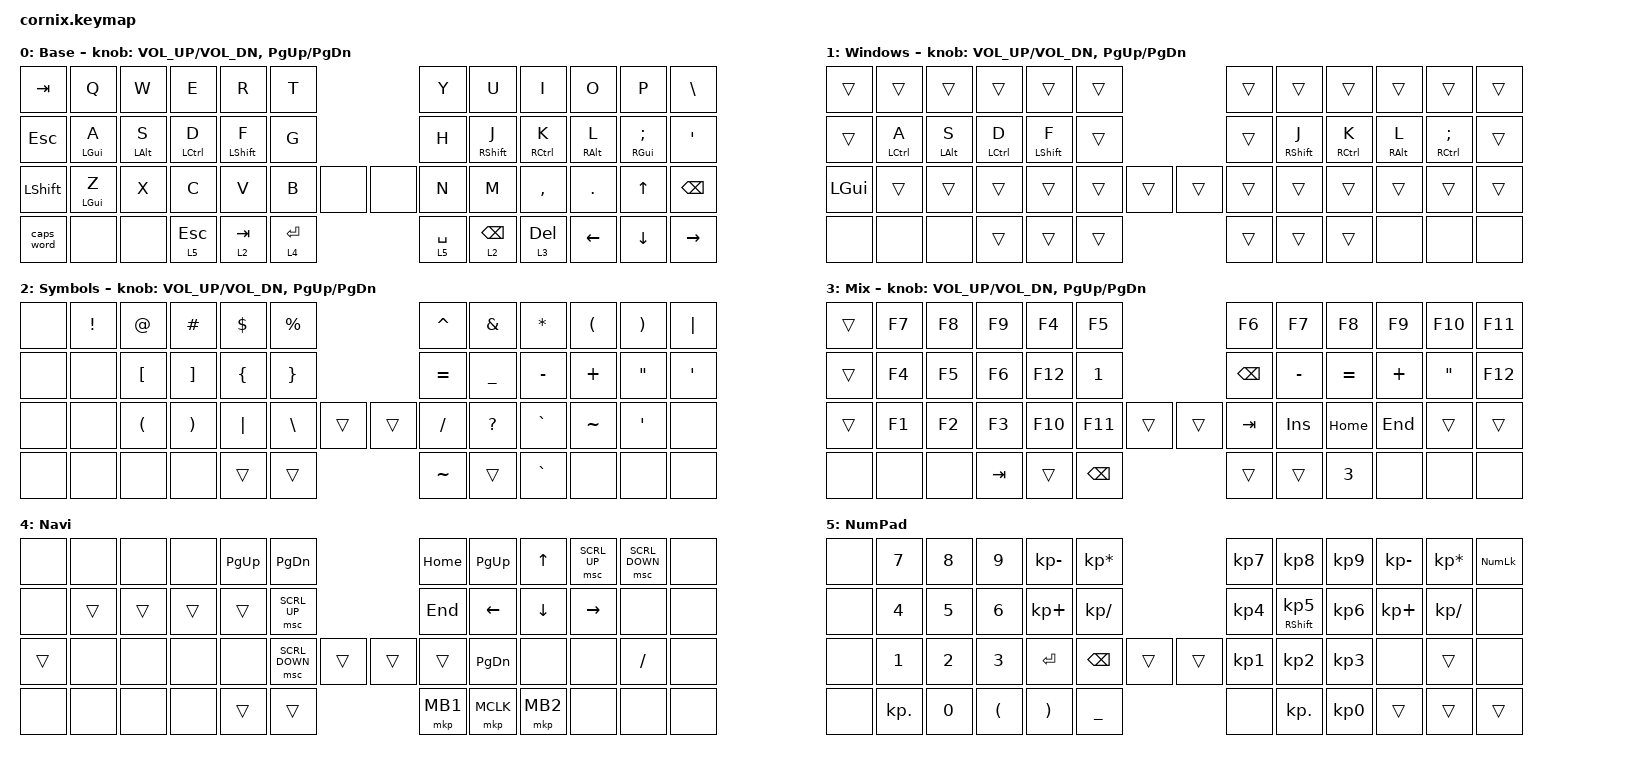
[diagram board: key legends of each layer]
/*
 * Copyright (c) 2020 The ZMK Contributors
 *
 * SPDX-License-Identifier: MIT
 */

#include "zmk-helpers/helper.h"
#include "includes/cornix54.h"

// tap windows for ctl alt and gui

#define HM_TAPPING_TERM 250
#define HM_TAPPING_REPEAT 210

// quick tapping for shift

#define HM_TAPPING_TERM_FAST 200
#define HM_PRIOR_IDLE 70
#define BASE 0
#define WIN 1
#define LOWER 2
#define RAISE 3
#define NAVI   4
#define NUM    5

// https://github.com/urob/zmk-config/tree/main#timeless-homerow-mods

#define KEYS_L LT0 LT1 LT2 LT3 LT4 LT5 LM0 LM1 LM2 LM3 LM4 LM5 LB0 LB1 LB2 LB3 LB4 LB5  // left hand
#define KEYS_R RT0 RT1 RT2 RT3 RT4 RT5 RM0 RM1 RM2 RM3 RM4 RM5 RB0 RB1 RB2 RB3 RB4 RB5  // right hand
#define THUMBS LH1 LH0 RH0 RH1
#define KEYS_T LH1 LH0 RH0 RH1
#define ZMK_POINTING_DEFAULT_SCRL_VAL 15

#include <behaviors.dtsi>
#include <dt-bindings/zmk/keys.h>
#include <dt-bindings/zmk/pointing.h>

/ {
    // Activate ADJUST layer by pressing raise and lower

    behaviors {
        hm_l: homerow_mods_left {
            compatible = "zmk,behavior-hold-tap";
            #binding-cells = <2>;
            bindings = <&kp>, <&kp>;

            flavor = "balanced";
            tapping-term-ms = <HM_TAPPING_TERM>;
            quick-tap-ms = <200>;                // repeat on tap-into-hold
            require-prior-idle-ms = <HM_PRIOR_IDLE>;
            hold-trigger-key-positions = <KEYS_R KEYS_T>;
            hold-trigger-on-release;
        };

        hm_r: homerow_mods_right {
            compatible = "zmk,behavior-hold-tap";
            #binding-cells = <2>;
            bindings = <&kp>, <&kp>;

            flavor = "balanced";
            tapping-term-ms = <HM_TAPPING_TERM>;
            quick-tap-ms = <200>;
            require-prior-idle-ms = <HM_PRIOR_IDLE>;
            hold-trigger-key-positions = <KEYS_L KEYS_T>;
            hold-trigger-on-release;
        };

        // Positional Homerow mods for shift
        // Use faster tapping term and disable some features that may
        // cause false negatives.

        hm_shift_l: hm_shift_l {
            compatible = "zmk,behavior-hold-tap";
            #binding-cells = <2>;
            bindings = <&kp>, <&kp>;

            //flavor = "balanced";

            flavor = "balanced";
            tapping-term-ms = <HM_TAPPING_TERM_FAST>;
            quick-tap-ms = <200>;
            require-prior-idle-ms = <HM_PRIOR_IDLE>;
            hold-trigger-key-positions = <KEYS_R KEYS_T>;
            hold-trigger-on-release;
        };

        hm_shift_r: hm_shift_r {
            compatible = "zmk,behavior-hold-tap";
            #binding-cells = <2>;
            bindings = <&kp>, <&kp>;

            flavor = "balanced";
            tapping-term-ms = <HM_TAPPING_TERM_FAST>;
            quick-tap-ms = <200>;
            require-prior-idle-ms = <HM_PRIOR_IDLE>;
            hold-trigger-key-positions = <KEYS_L KEYS_T>;

            // for quick tapping; shift+~

            hold-trigger-on-release;
        };

        /*
         * Non-Positional Homerow Mods
         * Used for &mm_grescm_gui behavior on left hand.
         *
         * Usage: &hm LSHFT T
         * Tap: T
         * Tap-Tap-Hold: Repeat T
         * Hold: LSHIFT
         */

        hm: homerow_mods {
            compatible = "zmk,behavior-hold-tap";
            #binding-cells = <2>;
            bindings = <&kp>, <&kp>;

            flavor = "balanced";
            tapping-term-ms = <HM_TAPPING_TERM>;
            quick-tap-ms = <200>;
        };

        lt: layer_tap {
            compatible = "zmk,behavior-hold-tap";
            #binding-cells = <2>;
            bindings = <&mo>, <&kp>;

            flavor = "hold-preferred";
            tapping-term-ms = <HM_TAPPING_TERM>;
            quick-tap-ms = <200>;
        };
    };

    conditional_layers { compatible = "zmk,conditional-layers"; };

    combos {
        compatible = "zmk,combos";

        cb_ltm {
            bindings = <&kp ESC>;
            key-positions = <2 4>;
            layers = <0 1>;
        };

        comfff {
            bindings = <&tog 5>;
            key-positions = <44 32>;
        };
    };

    keymap {
        compatible = "zmk,keymap";

        default_layer {
            display-name = "Base";

            // ------------------------------------------------------------------------------------------------------------
            // |   `   |  1  |  2  |  3   |  4   |  5   |                   |  6   |  7    |  8    |  9   |   0   |       |
            // |  ESC  |  Q  |  W  |  E   |  R   |  T   |                   |  Y   |  U    |  I    |  O   |   P   | BKSPC |
            // |  TAB  |  A  |  S  |  D   |  F   |  G   |                   |  H   |  J    |  K    |  L   |   ;   |   '   |
            // | SHIFT |  Z  |  X  |  C   |  V   |  B   |  MUTE  |  |       |  N   |  M    |  ,    |  .   |   /   | SHIFT |
            //               | GUI | ALT  | CTRL | LOWER|  ENTER |  | SPACE | RAISE| CTRL  | ALT   | GUI  |

            bindings = <
&kp TAB         &kp Q             &kp W             &kp E          &kp R                &kp T                      &kp Y        &kp U                &kp I          &kp O           &kp P                 &kp BSLH
&kp ESC         &hm_l LEFT_GUI A  &hm_l LEFT_ALT S  &hm_l LCTRL D  &hm_shift_l LSHFT F  &kp G                      &kp H        &hm_shift_r RSHFT J  &hm_r RCTRL K  &hm_r RALT L    &hm_r RIGHT_GUI SEMI  &kp SQT
&kp LEFT_SHIFT  &hm_l LGUI Z      &kp X             &kp C          &kp V                &kp B        &none  &none  &kp N        &kp M                &kp COMMA      &kp DOT         &kp UP_ARROW          &kp BACKSPACE
&caps_word      &none             &none             &lt 5 ESCAPE   &lt 2 TAB            &lt 4 ENTER                &lt 5 SPACE  &lt 2 BACKSPACE      &lt 3 DEL      &kp LEFT_ARROW  &kp DOWN              &kp RIGHT
            >;

            sensor-bindings = <&inc_dec_kp C_VOL_UP C_VOL_DN &inc_dec_kp PG_UP PG_DN>;
        };

        win_layer {
            display-name = "Windows";

            // ------------------------------------------------------------------------------------------------------------
            // |   `   |  1  |  2  |  3   |  4   |  5   |                   |  6   |  7    |  8    |  9   |   0   |       |
            // |  ESC  |  Q  |  W  |  E   |  R   |  T   |                   |  Y   |  U    |  I    |  O   |   P   | BKSPC |
            // |  TAB  |  A  |  S  |  D   |  F   |  G   |                   |  H   |  J    |  K    |  L   |   ;   |   '   |
            // | SHIFT |  Z  |  X  |  C   |  V   |  B   |  MUTE  |  |       |  N   |  M    |  ,    |  .   |   /   | SHIFT |
            //               | GUI | ALT  | CTRL | LOWER|  ENTER |  | SPACE | RAISE| CTRL  | ALT   | GUI  |

            bindings = <
&trans    &trans         &trans        &trans         &trans               &trans                  &trans  &trans               &trans         &trans        &trans            &trans
&trans    &hm_l LCTRL A  &hm_l LALT S  &hm_l LCTRL D  &hm_shift_l LSHFT F  &trans                  &trans  &hm_shift_r RSHFT J  &hm_r RCTRL K  &hm_r RALT L  &hm_r RCTRL SEMI  &trans
&kp LGUI  &trans         &trans        &trans         &trans               &trans  &trans  &trans  &trans  &trans               &trans         &trans        &trans            &trans
&none     &none          &none         &trans         &trans               &trans                  &trans  &trans               &trans         &none         &none             &none
            >;

            sensor-bindings = <&inc_dec_kp C_VOL_UP C_VOL_DN &inc_dec_kp PG_UP PG_DN>;
        };

        Symbol_layer {
            display-name = "Symbols";

            // TODO: Some binds are waiting for shifted keycode support.
            // -------------------------------
            // |       |  F1 |  F2 |  F3  |  F4  |  F5  |                   |  F6  |  F7   |  F8   |  F9  |  F10  |  F11  |
            // |   `   |  1  |  2  |  3   |  4   |  5   |                   |  6   |  7    |  8    |  9   |   0   |  F12  |
            // |       |  !  |  @  |  #   |  $   |  %   |                   |  ^   |  &    |  *    |  (   |   )   |   |   |
            // |       |  =  |  -  |  +   |  {   |  }   |        |  |       |  [   |  ]    |  ;    |  :   |   \   |       |
            //               |     |      |      |      |        |  |       |      |       |       |      |

            bindings = <
&none  &kp EXCL  &kp AT                &kp HASH  &kp DLLR  &kp PRCNT                  &kp CARET  &kp AMPS      &kp ASTRK  &kp LPAR   &kp RPAR  &kp PIPE
&none  &none     &kp LBKT              &kp RBKT  &kp LBRC  &kp RBRC                   &kp EQUAL  &kp UNDER     &kp MINUS  &kp PLUS   &kp DQT   &kp SQT
&none  &none     &kp LEFT_PARENTHESIS  &kp RPAR  &kp PIPE  &kp BSLH   &trans  &trans  &kp FSLH   &kp QUESTION  &kp GRAVE  &kp TILDE  &kp SQT   &none
&none  &none     &none                 &none     &trans    &trans                     &kp TILDE  &trans        &kp GRAVE  &none      &none     &none
            >;

            sensor-bindings = <&inc_dec_kp C_VOL_UP C_VOL_DN &inc_dec_kp PG_UP PG_DN>;
        };

        Mix_layer {
            display-name = "Mix";

            // ------------------------------------------------------------------------------------------------------------
            // | BTCLR | BT1  | BT2  |  BT3  |  BT4  |  BT5 |                |      |      |       |      |       |       |
            // |       | INS  | PSCR | GUI   |       |      |                | PGUP |      |   ^   |      |       |       |
            // |       | ALT  | CTRL | SHIFT |       | CAPS |                | PGDN |   <- |   v   |  ->  |  DEL  | BKSPC |
            // |       | UNDO | CUT  | COPY  | PASTE |      |      |  |      |      |      |       |      |       |       |
            //                |      |       |       |      |      |  |      |      |      |       |      |

            bindings = <
&trans  &kp F7  &kp F8  &kp F9   &kp F4   &kp F5                         &kp F6    &kp F7     &kp F8     &kp F9    &kp F10  &kp F11
&trans  &kp F4  &kp F5  &kp F6   &kp F12  &kp N1                         &kp BSPC  &kp MINUS  &kp EQUAL  &kp PLUS  &kp DQT  &kp F12
&trans  &kp F1  &kp F2  &kp F3   &kp F10  &kp F11        &trans  &trans  &kp TAB   &kp INS    &kp HOME   &kp END   &trans   &trans
&none   &none   &none   &kp TAB  &trans   &kp BACKSPACE                  &trans    &trans     &kp N3     &none     &none    &none
            >;

            sensor-bindings = <&inc_dec_kp C_VOL_UP C_VOL_DN &inc_dec_kp PG_UP PG_DN>;
        };

        Navi_layer {
            display-name = "Navi";
            bindings = <
&none   &none   &none   &none   &kp PAGE_UP  &kp PAGE_DOWN                   &kp HOME  &kp PAGE_UP    &kp UP_ARROW    &msc SCRL_UP  &msc SCRL_DOWN  &none
&none   &trans  &trans  &trans  &trans       &msc SCRL_UP                    &kp END   &kp LEFT       &kp DOWN_ARROW  &kp RIGHT     &none           &none
&trans  &none   &none   &none   &none        &msc SCRL_DOWN  &trans  &trans  &trans    &kp PAGE_DOWN  &none           &none         &kp SLASH       &none
&none   &none   &none   &none   &trans       &trans                          &mkp MB1  &mkp MCLK      &mkp MB2        &none         &none           &none
            >;
        };

        KeyPad_layer {
            display-name = "NumPad";
            bindings = <
&none  &kp N7        &kp N8        &kp N9                &kp KP_MINUS           &kp KP_MULTIPLY                  &kp KP_N7        &kp KP_N8                            &kp KP_N9        &kp KP_MINUS  &kp KP_MULTIPLY  &kp KP_NUMLOCK
&none  &kp NUMBER_4  &kp NUMBER_5  &kp N6                &kp KP_PLUS            &kp KP_DIVIDE                    &kp KP_NUMBER_4  &hm_shift_r RIGHT_SHIFT KP_NUMBER_5  &kp KP_N6        &kp KP_PLUS   &kp KP_DIVIDE    &none
&none  &kp NUMBER_1  &kp NUMBER_2  &kp NUMBER_3          &kp ENTER              &kp BACKSPACE    &trans  &trans  &kp KP_NUMBER_1  &kp KP_NUMBER_2                      &kp KP_N3        &none         &trans           &none
&none  &kp KP_DOT    &kp N0        &kp LEFT_PARENTHESIS  &kp RIGHT_PARENTHESIS  &kp UNDERSCORE                   &none            &kp KP_DOT                           &kp KP_NUMBER_0  &trans        &trans           &trans
            >;
        };
    };
};
